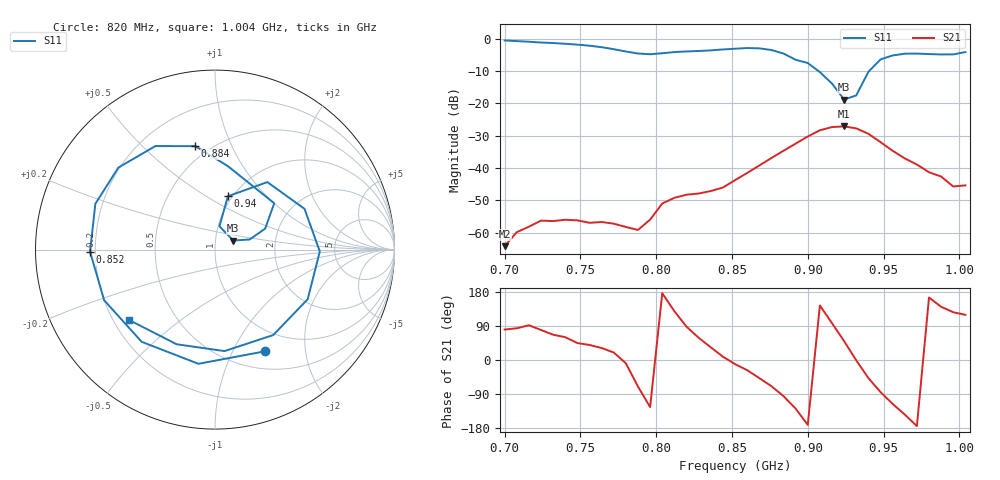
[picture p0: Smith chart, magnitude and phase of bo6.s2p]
# Hz S RI R 50
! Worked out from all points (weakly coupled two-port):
!   39 points, 700 MHz to 1.004 GHz, reference 50 ohm
!   highest |S21| = -27.18 dB at 924 MHz (marker M1); lowest = -64.2 dB at 700 MHz (marker M2)
!   lowest |S11| = -18.9 dB at 924 MHz (marker M3), VSWR 1.26, Z = 61 + j6.25 ohm
!   |S11| at or under -10 dB: 907 MHz to 940.6 MHz (33.65 MHz wide, 3.64 % of centre)
!   S12 and S22 are empty: the file has one direction only
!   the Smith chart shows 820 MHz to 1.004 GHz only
!   S11 on the Smith chart (normalised r, x): 820 MHz: 0.71, -1.35; 852 MHz: 0.18, -0.01; 884 MHz: 0.42, +0.74; 940 MHz: 0.95, +0.63; 1.004 GHz: 0.26, -0.34
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7e8  0.7513 0.5567  0.000103 0.000606  0 0  0 0
7.24e8  0.8366 -0.2348  0.000285 0.0015  0 0  0 0
7.4e8  0.465 -0.6885  0.000783 0.00137  0 0  0 0
7.56e8  -0.179 -0.7543  0.00109 0.000903  0 0  0 0
7.72e8  -0.6532 -0.2059  0.00129 0.000464  0 0  0 0
7.8e8  -0.5931 0.2159  0.0012 -0.000184  0 0  0 0
7.88e8  -0.2506 0.5312  0.000374 -0.00103  0 0  0 0
7.96e8  0.2362 0.5213  -0.000891 -0.00131  0 0  0 0
8.04e8  0.5652 0.1795  -0.0028 0.000183  0 0  0 0
8.2e8  0.2783 -0.5668  0.000133 0.00384  0 0  0 0
8.36e8  -0.4087 -0.5138  0.00365 0.00242  0 0  0 0
8.52e8  -0.696 -0.012  0.00633 -0.00121  0 0  0 0
8.68e8  -0.5381 0.4573  0.00731 -0.00804  0 0  0 0
8.84e8  -0.11 0.5764  -0.00169 -0.0183  0 0  0 0
9e8  0.33 0.2581  -0.0302 -0.00461  0 0  0 0
9.08e8  0.2796 0.1171  -0.0308 0.0225  0 0  0 0
9.24e8  0.102 0.0506  0.0283 0.0333  0 0  0 0
9.32e8  0.0248 0.1298  0.0408 -0.000598  0 0  0 0
9.4e8  0.072 0.2973  0.0227 -0.0248  0 0  0 0
9.56e8  0.4989 0.227  -0.00804 -0.0165  0 0  0 0
9.8e8  0.3245 -0.4761  -0.00826 0.00221  0 0  0 0
1.004e9  -0.4774 -0.3929  -0.00261 0.00468  0 0  0 0
